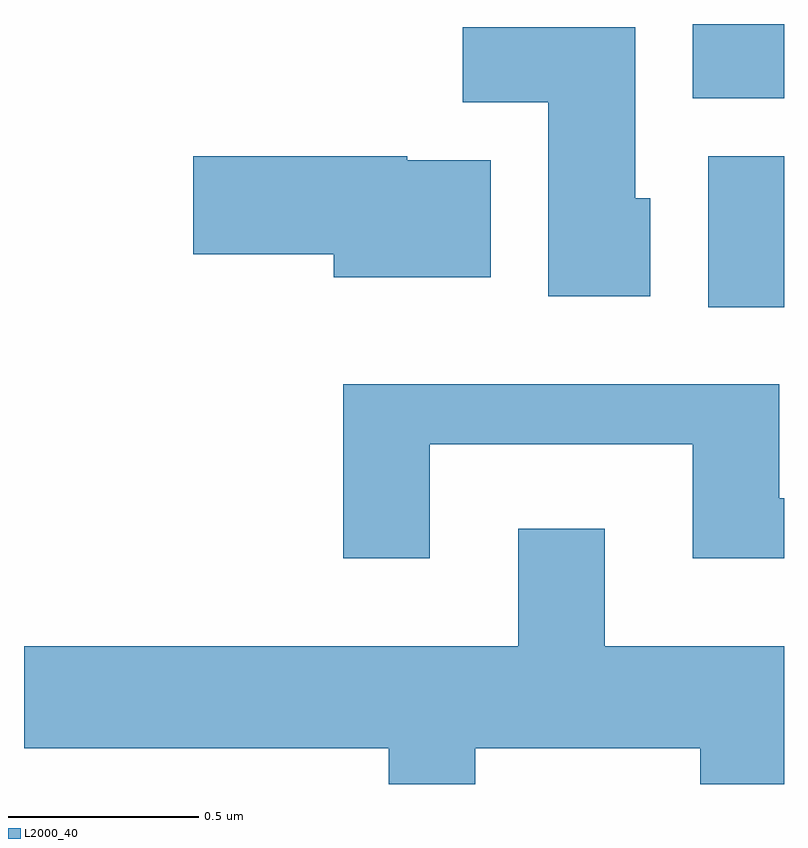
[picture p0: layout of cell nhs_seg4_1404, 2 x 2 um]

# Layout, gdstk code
import gdstk
lib = gdstk.Library(unit=1e-6, precision=1e-09)
def R(c, l, rs):  # rectangles x0, y0, x1, y1
    for r in rs: c.add(gdstk.rectangle(r[:2], r[2:], *l))
def P(c, l, *ps):  # polygons
    for p in ps: c.add(gdstk.Polygon(p, *l))
L2000_40 = (2000, 40)

nhs_seg4_1404 = lib.new_cell('nhs_seg4_1404')
R(nhs_seg4_1404, L2000_40, [(197.411,1289.236,197.611,1289.634), (197.371,1289.786,197.611,1289.982)])
P(nhs_seg4_1404, L2000_40, [(197.259,1289.524),(197.219,1289.524),(197.219,1289.974),(196.766,1289.974),(196.766,1289.776),(196.991,1289.776),(196.991,1289.266),(197.259,1289.266)],
  [(196.839,1289.624),(196.62,1289.624),(196.62,1289.634),(196.056,1289.634),(196.056,1289.376),(196.426,1289.376),(196.426,1289.316),(196.839,1289.316)],
  [(196.679,1288.876),(197.371,1288.876),(197.371,1288.576),(197.611,1288.576),(197.611,1288.734),(197.599,1288.734),(197.599,1289.034),(196.451,1289.034),(196.451,1288.576),(196.679,1288.576)],
  [(196.799,1288.076),(197.391,1288.076),(197.391,1287.982),(197.611,1287.982),(197.611,1288.344),(197.139,1288.344),(197.139,1288.654),(196.911,1288.654),(196.911,1288.344),(195.611,1288.344),(195.611,1288.076),(196.571,1288.076),(196.571,1287.982),(196.799,1287.982)])

lib.write_gds('nhs_seg4_1404.gds')
